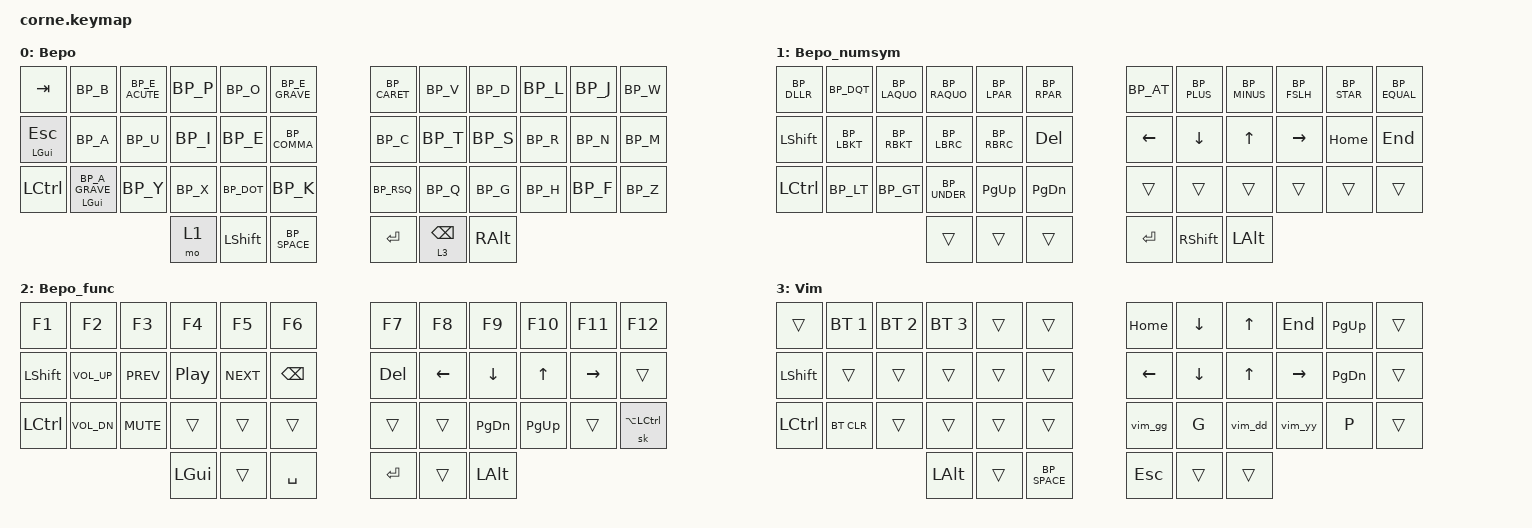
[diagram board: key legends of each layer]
/*
 * Copyright (c) 2020 The ZMK Contributors
 *
 * SPDX-License-Identifier: MIT
 *
 * Bépo layout for Corne (3x6+3), tuned for EN/FR text, C, and Vim.
 *
 * Base layer = standard BÉPO 1.1 (NF Z71-300) with 3 deliberate deviations
 * (see the Bepo layer comment below): ESC takes over Shift's old spot
 * (Shift is still one hold away, same key), W takes over Ç's old spot,
 * Ç is dropped.
 *
 * AltGr now lives on the right thumb. BÉPO's own AltGr table maps onto our
 * 36 base keys (verified from keys_fr_bepo.h), so holding it while tapping
 * a base letter already gives you | & ` \ { } ´ ¨ æ ß etc. "for free" -
 * that's why the old separate number layer and symbol layer collapse into
 * one merged "Sym" layer here: real Shift, held together with that
 * layer, reproduces genuine BÉPO number-row behaviour (bare key = symbol,
 * +Shift = digit), so one row does the job that used to need two.
 *
 * No host-side vimrc remap here on purpose: real Vim hjkl/w/b/g-motions
 * stay untouched (typed via their real BÉPO physical position) so there's
 * one mental model - the character you type is the command, full stop.
 * The Vim layer below only sends universal arrows/Home/End/PgUp/PgDn and
 * gg/dd/yy macros (plain literal keystrokes), so it never relabels a real
 * Vim command - safe to use anywhere without fighting muscle memory.
 */

#include <behaviors.dtsi>
#include <dt-bindings/zmk/keys.h>
#include <dt-bindings/zmk/bt.h>
#include "keys_fr_bepo.h"


/ {
    macros {
      ctrl_alt: ctrl_alt {
        compatible = "zmk,behavior-macro";
        #binding-cells = <0>;
        bindings
          = <&sk LCTRL &sk LALT>;
      };

      // Vim-layer conveniences: these send literal keystrokes, so they only
      // do the described thing inside an actual Vim/Vim-emulation normal
      // mode (they're plain text elsewhere).
      vim_gg: vim_gg {
        compatible = "zmk,behavior-macro";
        #binding-cells = <0>;
        bindings = <&kp G &kp G>;
      };
      vim_dd: vim_dd {
        compatible = "zmk,behavior-macro";
        #binding-cells = <0>;
        bindings = <&kp D &kp D>;
      };
      vim_yy: vim_yy {
        compatible = "zmk,behavior-macro";
        #binding-cells = <0>;
        bindings = <&kp Y &kp Y>;
      };
    };

    behaviors {
      hm: homerow-mods {
        compatible = "zmk,behavior-hold-tap";
        #binding-cells = <2>;
        tapping-term-ms = <175>;
        flavor = "tap-preferred";
        quick-tap-ms = <125>;
        global-quick-tap;
        bindings = <&kp>,<&kp>;
      };

      slt: spacebar_layer_tap {
        compatible = "zmk,behavior-hold-tap";
        #binding-cells = <2>;
        flavor = "balanced";
        tapping-term-ms = <175>;
        require-prior-idle-ms = <100>;
        bindings = <&mo>, <&kp>;
      };

      mhm: lgui_mods {
          compatible = "zmk,behavior-hold-tap";
          #binding-cells = <2>;
          flavor = "balanced";
          tapping-term-ms = <200>;
          quick-tap-ms = <200>; // Double tapping -> hold key
          require-prior-idle-ms = <100>;
          bindings = <&kp>, <&kp>;
      };
    };

    conditional-layers {
      compatible = "zmk,conditional-layers";
      tri_layer {
        // Holding both thumb layers at once (Sym + Vim) reaches Func.
        if-layers = <1 3>;
        then-layer = <2>;
      };
    };

    keymap {
      compatible = "zmk,keymap";

      Bepo {
// Standard BÉPO 1.1 letters, with 3 changes from stock:
//  - ESC replaces Shift's spot (tap = ESC, hold = LGUI - nothing is lost)
//  - W moves to Ç's old spot (bottom-right pinky), plain V takes its place
//  - Ç is dropped
//  - BS/VM (right thumb): tap = Backspace, hold = VIM layer
// Everything else - all 30 core letters - is untouched, so muscle memory
// for the letters stays exactly where it already is.
// ╭──────┬─────┬─────┬─────┬─────┬─────╮   ╭─────┬─────┬─────┬─────┬─────┬─────╮
// │  TAB │  B  │  É  │  P  │  O  │  È  │   │  ^  │  V  │  D  │  L  │  J  │  W  │
// ├──────┼─────┼─────┼─────┼─────┼─────┤   ├─────┼─────┼─────┼─────┼─────┼─────┤
// │ ESC  │  A  │  U  │  I  │  E  │  ,  │   │  C  │  T  │  S  │  R  │  N  │  M  │
// ├──────┼─────┼─────┼─────┼─────┼─────┤   ├─────┼─────┼─────┼─────┼─────┼─────┤
// │ CTRL │À/GUI│  Y  │  X  │  .  │  K  │   │  '  │  Q  │  G  │  H  │  F  │  Z  │
// ╰──────┴─────┴─────┼─────┼─────┼─────┤   ├─────┼─────┼─────┼─────┴─────┴─────╯
//                    │ Sym │  ⇧  │ SPC │   │ ENT │BS/VM│AltGr│
//                    ╰─────┴─────┴─────╯   ╰─────┴─────┴─────╯
         bindings = <
   &kp TAB       &kp BP_B             &kp BP_E_ACUTE &kp BP_P &kp BP_O     &kp BP_E_GRAVE     &kp BP_CARET &kp BP_V &kp BP_D &kp BP_L &kp BP_J &kp BP_W
   &hm LGUI ESC  &kp BP_A             &kp BP_U       &kp BP_I &kp BP_E     &kp BP_COMMA       &kp BP_C     &kp BP_T &kp BP_S &kp BP_R &kp BP_N &kp BP_M
   &kp LCTRL     &mhm LGUI BP_A_GRAVE &kp BP_Y       &kp BP_X &kp BP_DOT   &kp BP_K           &kp BP_RSQ   &kp BP_Q &kp BP_G &kp BP_H &kp BP_F &kp BP_Z
                                                     &mo 1 &kp LSHIFT &kp BP_SPACE            &kp RET      &slt 3 BSPC &kp RALT
         >;
      };

      Bepo_numsym {
// Merged numbers + symbols + nav (was 2 layers, now 1 - see file header).
// Row0 is the whole BÉPO "number row" reproduced with dual-purpose keys:
// tap alone = the symbol shown, tap+Shift = the digit/° shown after the
// slash - exactly how a real BÉPO board's number row behaves.
// { } < > are explicit bare keys per your request (not buried behind
// AltGr) since you'll reach for them constantly in C.
// Arrows stay on cols 6-9 of the home row - the exact physical spot
// QWERTY's H J K L occupy - so this doubles as your everyday (non-Vim)
// mouse-free nav in any app.
// ╭──────┬─────┬─────┬─────┬─────┬─────╮   ╭─────┬─────┬─────┬─────┬─────┬─────╮
// │ $/#  │ "/1 │ «/2 │ »/3 │ (/4 │ )/5 │   │ @/6 │ +/7 │ -/8 │ //9 │ */0 │ =/° │
// ├──────┼─────┼─────┼─────┼─────┼─────┤   ├─────┼─────┼─────┼─────┼─────┼─────┤
// │ SHFT │  [  │  ]  │  {  │  }  │ DEL │   │LEFT │DOWN │ UP  │ RGT │HOME │ END │
// ├──────┼─────┼─────┼─────┼─────┼─────┤   ├─────┼─────┼─────┼─────┼─────┼─────┤
// │ CTRL │  <  │  >  │  _  │ PGUP│ PGDN│   │     │     │     │     │     │     │
// ╰──────┴─────┴─────┼─────┼─────┼─────┤   ├─────┼─────┼─────┼─────┴─────┴─────╯
//                    │     │     │     │   │ ENT │SHFT │LALT │
//                    ╰─────┴─────┴─────╯   ╰─────┴─────┴─────╯
        bindings = <
   &kp BP_DLLR &kp BP_DQT &kp BP_LAQUO &kp BP_RAQUO &kp BP_LPAR &kp BP_RPAR    &kp BP_AT &kp BP_PLUS &kp BP_MINUS &kp BP_FSLH &kp BP_STAR &kp BP_EQUAL
   &kp LSHFT   &kp BP_LBKT &kp BP_RBKT &kp BP_LBRC  &kp BP_RBRC &kp DEL        &kp LEFT  &kp DOWN    &kp UP       &kp RIGHT   &kp HOME    &kp END
   &kp LCTRL   &kp BP_LT   &kp BP_GT   &kp BP_UNDER &kp PG_UP   &kp PG_DN      &trans    &trans      &trans       &trans      &trans      &trans
                                       &trans     &trans      &trans  &kp RET    &kp RSHFT   &kp LALT
        >;
      };

      Bepo_func {
// Reached by holding Sym + Vim together (both thumbs).
// ╭──────┬─────┬─────┬─────┬─────┬─────╮   ╭─────┬─────┬─────┬─────┬─────┬─────╮
// │  F1  │  F2 │  F3 │  F4 │ F5  │  F6 │   │  F7 │  F8 │  F9 │ F10 │ F11 │ F12 │
// ├──────┼─────┼─────┼─────┼─────┼─────┤   ├─────┼─────┼─────┼─────┼─────┼─────┤
// │ SHFT │v up │prev │pause│next │ BKSP│   │ DEL │LEFT │DOWN │ UP  │ RGT │     │
// ├──────┼─────┼─────┼─────┼─────┼─────┤   ├─────┼─────┼─────┼─────┼─────┼─────┤
// │ CTRL │v dn │mute │     │     │     │   │     │     │ PDN │ PUP │     │CALT │
// ╰──────┴─────┴─────┼─────┼─────┼─────┤   ├─────┼─────┼─────┼─────┴─────┴─────╯
//                    │LGUI │     │ SPC │   │ ENT │     │ ALT │
//                    ╰─────┴─────┴─────╯   ╰─────┴─────┴─────╯
        bindings = <
   &kp F1    &kp F2       &kp F3     &kp F4   &kp F5     &kp F6        &kp F7  &kp F8   &kp F9    &kp F10   &kp F11   &kp F12
   &kp LSHFT &kp C_VOL_UP &kp C_PREV &kp C_PP &kp C_NEXT &kp BSPC      &kp DEL &kp LEFT &kp DOWN  &kp UP    &kp RIGHT &trans
   &kp LCTRL &kp C_VOL_DN &kp C_MUTE &trans   &trans     &trans        &trans  &trans   &kp PG_DN &kp PG_UP &trans    &sk LA(LCTRL)
                                     &kp LGUI &trans     &kp SPACE     &kp RET &trans   &kp LALT
        >;
      };

      Vim {
// Held from the right thumb. Turns the whole right hand into arrows/word-
// jump/line-jump so mouse-free navigation works even where an app's own
// hjkl bindings assume QWERTY. Left hand keeps Ctrl/Shift/Alt so
// Ctrl+arrow (word jump) and Shift+arrow (select) work one-handed.
// Every binding here is a plain literal keystroke (arrows, or a real Vim
// command autotyped twice by a macro) - nothing here relabels what a key
// means inside real Vim, so it never fights the muscle memory you're
// building for actual Vim motions.
// ╭──────┬─────┬─────┬─────┬─────┬─────╮   ╭─────┬─────┬─────┬─────┬─────┬─────╮
// │ trns │ BT1 │ BT2 │ BT3 │     │     │   │ HOME│ DOWN│  UP │ END │ PGUP│     │
// ├──────┼─────┼─────┼─────┼─────┼─────┤   ├─────┼─────┼─────┼─────┼─────┼─────┤
// │ SHFT │     │     │     │     │     │   │ LEFT│ DOWN│  UP │ RGHT│ PGDN│     │
// ├──────┼─────┼─────┼─────┼─────┼─────┤   ├─────┼─────┼─────┼─────┼─────┼─────┤
// │ CTRL │BTclr│     │     │     │     │   │  gg │  G  │  dd │  yy │  p  │     │
// ╰──────┴─────┴─────┼─────┼─────┼─────┤   ├─────┼─────┼─────┼─────┴─────┴─────╯
//                    │ ALT │     │ SPC │   │ ESC │     │ trns│
//                    ╰─────┴─────┴─────╯   ╰─────┴─────┴─────╯
        bindings = <
   &trans    &bt BT_SEL 1 &bt BT_SEL 2 &bt BT_SEL 3 &trans &trans        &kp HOME &kp DOWN &kp UP  &kp END   &kp PG_UP &trans
   &kp LSHFT &trans       &trans       &trans       &trans &trans        &kp LEFT &kp DOWN &kp UP  &kp RIGHT &kp PG_DN &trans
   &kp LCTRL &bt BT_CLR   &trans       &trans       &trans &trans        &vim_gg  &kp G    &vim_dd &vim_yy   &kp P     &trans
                          &kp LALT     &trans       &kp BP_SPACE         &kp ESC  &trans   &trans
        >;
      };
  };
};
